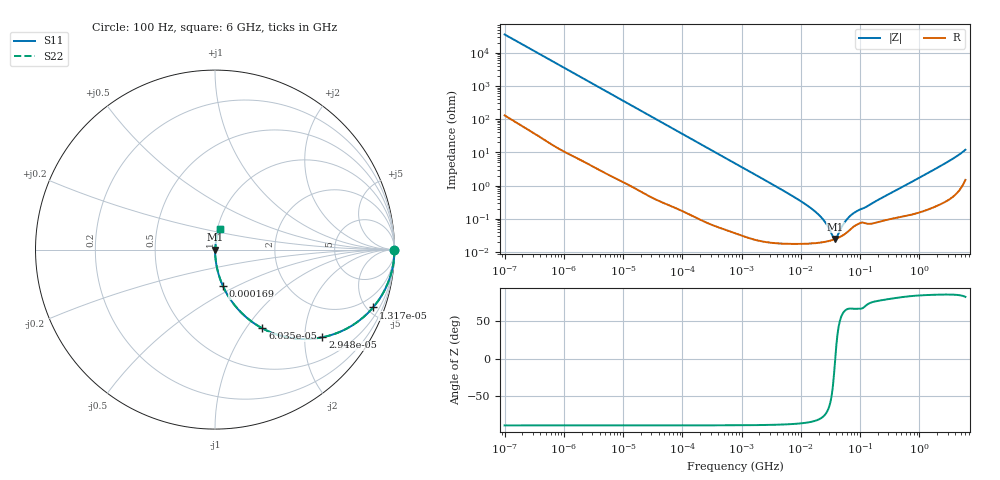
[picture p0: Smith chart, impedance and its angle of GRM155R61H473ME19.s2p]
!Murata Part Number: GRM155R61H473ME19
!These Parameters are Measured in Series Mode Connection
!Data Generated on Mar 30, 2021
!  o--ll--o
!Port1  Port2
!  o------o
!Operation Temp=25[degC], DC Bias Voltage=0[V]
!Freq. Start=100[Hz] Stop=6[GHz] 401[Steps]
# Hz S RI R 50
!Freq.(Hz) S11(Real) S11(Imag) S21(Real) S21(Imag) S12(Real) S12(Imag) S22(Real) S22(Imag)
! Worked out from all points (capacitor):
!   401 points, 100 Hz to 6 GHz, reference 50 ohm
!   read as one part in series: C = 44.7 nF near 109 Hz
!   lowest |Z| = 24.5 mohm at 38.09 MHz (marker M1)
!   series resonance near 38.12 MHz, so ESL is about 390 pH
!   S11 on the Smith chart (normalised r, x): 100 Hz: open; 13.17 kHz: 1.02, -5.45; 29.48 kHz: 1.01, -2.44; 60.35 kHz: 1.01, -1.19; 169 kHz: 1.00, -0.43; 6 GHz: 1.03, +0.24
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100  1 -0.00281  1.82e-05 0.00281  1.82e-05 0.00281  1 -0.00281
2008  0.9967 -0.0559  0.00332 0.0559  0.00332 0.0559  0.9967 -0.0559
5378  0.9775 -0.1466  0.0225 0.1466  0.0225 0.1466  0.9775 -0.1466
13169  0.8806 -0.3224  0.1194 0.3224  0.1194 0.3224  0.8806 -0.3224
19704  0.7682 -0.4202  0.2318 0.4202  0.2318 0.4202  0.7682 -0.4202
29482  0.5979 -0.4885  0.4021 0.4885  0.4021 0.4885  0.5979 -0.4885
40335  0.4436 -0.4949  0.5564 0.4949  0.5564 0.4949  0.4436 -0.4949
60352  0.2637 -0.4385  0.7363 0.4385  0.7363 0.4385  0.2637 -0.4385
98762  0.1189 -0.3214  0.8811 0.3214  0.8811 0.3214  0.1189 -0.3214
169018  0.0447 -0.2041  0.9553 0.2041  0.9553 0.2041  0.0447 -0.2041
774597  0.00256 -0.0467  0.9974 0.0467  0.9974 0.0467  0.00256 -0.0467
6353432  0.000207 -0.00557  0.9998 0.00557  0.9998 0.00557  0.000207 -0.00557
1.555665e7  0.000186 -0.00195  0.9998 0.00195  0.9998 0.00195  0.000186 -0.00195
2.434276e7  0.0002 -0.000885  0.9998 0.000885  0.9998 0.000885  0.0002 -0.000885
3.482834e7  0.000232 -0.000173  0.9998 0.000173  0.9998 0.000173  0.000232 -0.000173
3.80911e7  0.000245 -1.6e-06  0.9998 1.6e-06  0.9998 1.6e-06  0.000245 -1.6e-06
4.165952e7  0.000262 0.000169  0.9997 -0.000169  0.9997 -0.000169  0.000262 0.000169
5.449875e7  0.000342 0.000691  0.9997 -0.000691  0.9997 -0.000691  0.000342 0.000691
7.129496e7  0.000512 0.00121  0.9995 -0.00121  0.9995 -0.00121  0.000512 0.00121
3.124326e8  0.000999 0.00556  0.999 -0.00556  0.999 -0.00556  0.000999 0.00556
2.450438e9  0.00464 0.0415  0.9954 -0.0415  0.9954 -0.0415  0.00464 0.0415
6e9  0.0281 0.1144  0.9719 -0.1144  0.9719 -0.1144  0.0281 0.1144
